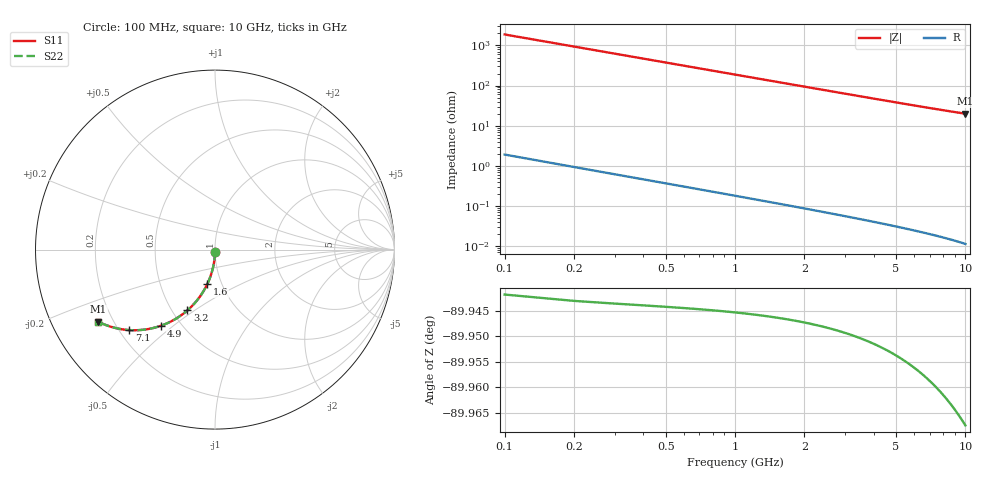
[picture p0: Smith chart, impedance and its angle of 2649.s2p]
# Hz S RI R 50.00
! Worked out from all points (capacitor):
!   100 points, 100 MHz to 10 GHz, reference 50 ohm
!   read as one part in shunt: C = 846 fF near 100 MHz
!   lowest |Z| = 19.9 ohm at 10 GHz (marker M1)
!   S11 on the Smith chart (normalised r, x): 100 MHz: 1.00, -0.03; 1.6 GHz: 0.85, -0.34; 3.2 GHz: 0.60, -0.47; 4.9 GHz: 0.39, -0.45; 7.1 GHz: 0.24, -0.38; 10 GHz: 0.14, -0.28
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1e8  0.000134 -0.0126  0.9995 -0.014  0.9995 -0.014  0.000134 -0.0126
2e8  -0.000406 -0.0252  0.9989 -0.028  0.9989 -0.028  -0.000406 -0.0252
3e8  -0.0013 -0.0377  0.998 -0.0419  0.998 -0.0419  -0.0013 -0.0377
4e8  -0.00254 -0.0502  0.9968 -0.0558  0.9968 -0.0558  -0.00254 -0.0502
5e8  -0.00412 -0.0627  0.9952 -0.0697  0.9952 -0.0697  -0.00412 -0.0627
6e8  -0.00606 -0.0751  0.9932 -0.0835  0.9932 -0.0835  -0.00606 -0.0751
7e8  -0.00833 -0.0874  0.991 -0.0972  0.991 -0.0972  -0.00833 -0.0874
9e8  -0.0139 -0.1117  0.9854 -0.1243  0.9854 -0.1243  -0.0139 -0.1117
1.2e9  -0.0246 -0.1472  0.9746 -0.1641  0.9746 -0.1641  -0.0246 -0.1472
1.6e9  -0.0431 -0.1924  0.9559 -0.2149  0.9559 -0.2149  -0.0431 -0.1924
1.8e9  -0.054 -0.2139  0.945 -0.2392  0.945 -0.2392  -0.054 -0.2139
2.4e9  -0.0925 -0.2732  0.9063 -0.307  0.9063 -0.307  -0.0925 -0.2732
3.2e9  -0.1539 -0.3386  0.8444 -0.3837  0.8444 -0.3837  -0.1539 -0.3386
3.4e9  -0.1705 -0.3523  0.8277 -0.4003  0.8277 -0.4003  -0.1705 -0.3523
4.1e9  -0.2307 -0.3925  0.7669 -0.4505  0.7669 -0.4505  -0.2307 -0.3925
4.9e9  -0.3008 -0.424  0.696 -0.4935  0.696 -0.4935  -0.3008 -0.424
5.1e9  -0.3182 -0.4297  0.6784 -0.5021  0.6784 -0.5021  -0.3182 -0.4297
5.9e9  -0.3857 -0.4447  0.61 -0.5287  0.61 -0.5287  -0.3857 -0.4447
6.7e9  -0.4488 -0.4493  0.5458 -0.5449  0.5458 -0.5449  -0.4488 -0.4493
7.1e9  -0.4784 -0.4483  0.5157 -0.5499  0.5157 -0.5499  -0.4784 -0.4483
8.4e9  -0.5646 -0.4342  0.4272 -0.5552  0.4272 -0.5552  -0.5646 -0.4342
1e10  -0.6506 -0.4016  0.338 -0.5471  0.338 -0.5471  -0.6506 -0.4016
